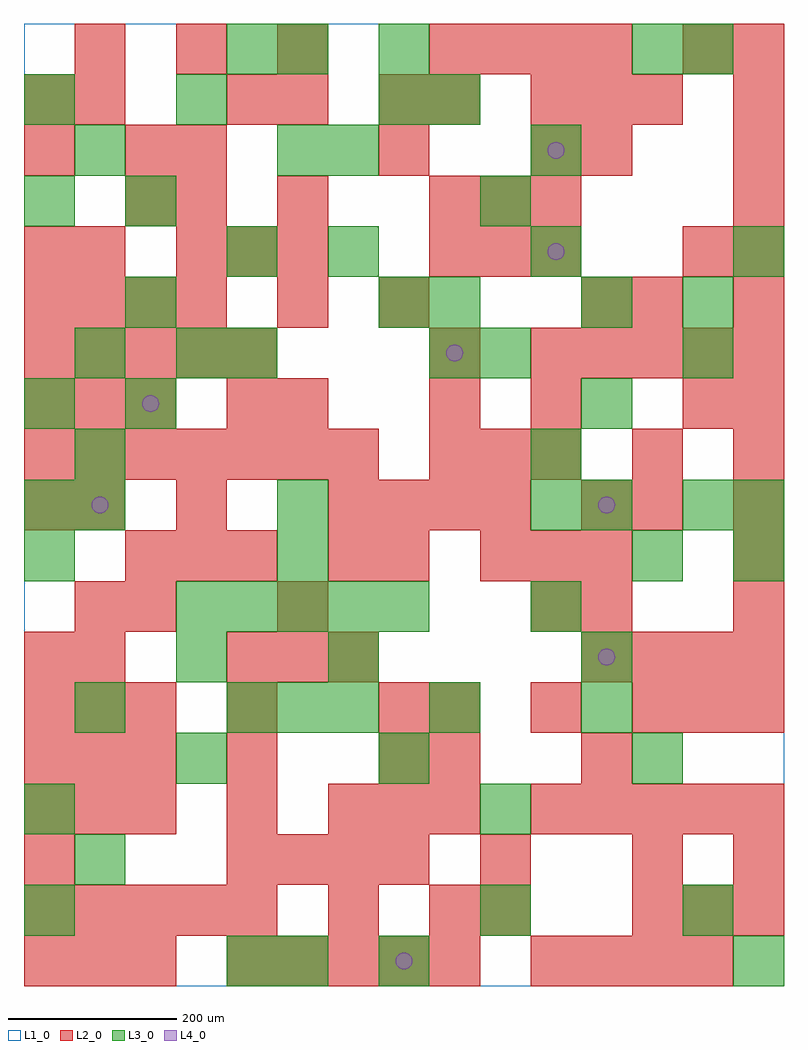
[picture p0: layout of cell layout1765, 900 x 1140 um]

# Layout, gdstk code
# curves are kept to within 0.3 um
import gdstk
lib = gdstk.Library(unit=1e-6, precision=1e-09)
def R(c, l, rs):  # rectangles x0, y0, x1, y1
    for r in rs: c.add(gdstk.rectangle(r[:2], r[2:], *l))
def A(c, l, x, y, w, h, nx, ny, dx, dy):  # array of equal rectangles
    R(c, l, [(x+i*dx, y+j*dy, x+i*dx+w, y+j*dy+h) for i in range(nx) for j in range(ny)])
def P(c, l, *ps):  # polygons
    for p in ps: c.add(gdstk.Polygon(p, *l))
L1_0 = (1, 0)
L2_0 = (2, 0)
L3_0 = (3, 0)
L4_0 = (4, 0)

layout1765 = lib.new_cell('layout1765')
R(layout1765, L1_0, [(0,0,900,1140)])
A(layout1765, L2_0, 0, 0, 60, 60, 3, 2, 60, 180)
A(layout1765, L2_0, 240, 0, 60, 60, 5, 1, 60, 0)
A(layout1765, L2_0, 600, 0, 60, 60, 4, 1, 60, 0)
A(layout1765, L2_0, 0, 60, 60, 60, 5, 2, 60, 660)
A(layout1765, L2_0, 720, 60, 60, 60, 3, 1, 60, 0)
A(layout1765, L2_0, 240, 120, 60, 60, 4, 1, 60, 0)
A(layout1765, L2_0, 240, 180, 60, 60, 1, 3, 0, 60)
A(layout1765, L2_0, 360, 180, 60, 60, 3, 1, 60, 0)
A(layout1765, L2_0, 600, 180, 60, 60, 5, 2, 60, 540)
A(layout1765, L2_0, 0, 240, 60, 60, 3, 2, 60, 60)
A(layout1765, L2_0, 480, 300, 60, 60, 3, 1, 120, 0)
A(layout1765, L2_0, 240, 360, 60, 60, 3, 1, 60, 0)
A(layout1765, L2_0, 660, 360, 60, 60, 4, 1, 60, 0)
A(layout1765, L2_0, 840, 420, 60, 60, 1, 5, 0, 60)
A(layout1765, L2_0, 120, 480, 60, 60, 3, 1, 60, 0)
A(layout1765, L2_0, 540, 480, 60, 60, 3, 1, 60, 0)
A(layout1765, L2_0, 360, 540, 60, 60, 4, 1, 60, 0)
A(layout1765, L2_0, 0, 600, 60, 60, 7, 1, 60, 0)
A(layout1765, L2_0, 480, 600, 60, 60, 3, 2, 60, 240)
A(layout1765, L2_0, 0, 660, 60, 60, 3, 1, 60, 0)
A(layout1765, L2_0, 300, 660, 60, 60, 1, 4, 0, 120)
A(layout1765, L2_0, 0, 780, 60, 60, 4, 1, 60, 0)
A(layout1765, L2_0, 840, 780, 60, 60, 1, 6, 0, 60)
A(layout1765, L2_0, 180, 840, 60, 60, 3, 1, 60, 0)
A(layout1765, L2_0, 480, 900, 60, 60, 3, 1, 60, 0)
A(layout1765, L2_0, 600, 1020, 60, 60, 3, 1, 60, 0)
A(layout1765, L2_0, 60, 1080, 60, 60, 3, 1, 120, 0)
A(layout1765, L2_0, 480, 1080, 60, 60, 4, 1, 60, 0)
R(layout1765, L2_0, [(360,60,420,120), (480,60,540,120), (540,60,600,120), (0,120,60,180), (540,120,600,180), (720,120,780,180), (840,120,900,180), (420,240,480,300), (480,240,540,300), (660,240,720,300), (420,300,480,360), (780,300,840,360), (840,300,900,360), (0,360,60,420), (60,360,120,420), (60,420,120,480), (120,420,180,480), (300,420,360,480), (600,420,660,480), (660,420,720,480), (360,480,420,540), (420,480,480,540), (0,540,60,600), (60,540,120,600), (180,540,240,600), (660,540,720,600), (720,540,780,600), (720,600,780,660), (240,660,300,720), (480,660,540,720), (600,660,660,720), (780,660,840,720), (480,720,540,780), (420,780,480,840), (660,780,720,840), (720,780,780,840), (0,840,60,900), (60,840,120,900), (780,840,840,900), (120,900,180,960), (180,900,240,960), (0,960,60,1020), (120,960,180,1020), (180,960,240,1020), (420,960,480,1020), (600,960,660,1020), (660,960,720,1020), (0,1020,60,1080), (60,1020,120,1080), (240,1020,300,1080), (420,1020,480,1080), (480,1020,540,1080), (780,1080,840,1140)])
A(layout1765, L3_0, 240, 300, 60, 60, 3, 1, 60, 0)
A(layout1765, L3_0, 180, 420, 60, 60, 5, 1, 60, 0)
A(layout1765, L3_0, 660, 540, 60, 60, 1, 3, 0, 120)
A(layout1765, L3_0, 120, 660, 60, 60, 1, 3, 0, 120)
A(layout1765, L3_0, 360, 840, 60, 60, 3, 1, 240, 0)
R(layout1765, L3_0, [(240,0,300,60), (300,0,360,60), (420,0,480,60), (840,0,900,60), (0,60,60,120), (540,60,600,120), (780,60,840,120), (60,120,120,180), (0,180,60,240), (540,180,600,240), (180,240,240,300), (420,240,480,300), (720,240,780,300), (60,300,120,360), (480,300,540,360), (660,300,720,360), (180,360,240,420), (360,360,420,420), (660,360,720,420), (600,420,660,480), (0,480,60,540), (300,480,360,540), (720,480,780,540), (840,480,900,540), (0,540,60,600), (60,540,120,600), (300,540,360,600), (600,540,660,600), (780,540,840,600), (840,540,900,600), (60,600,120,660), (600,600,660,660), (0,660,60,720), (60,720,120,780), (180,720,240,780), (240,720,300,780), (480,720,540,780), (540,720,600,780), (780,720,840,780), (420,780,480,840), (480,780,540,840), (780,780,840,840), (240,840,300,900), (0,900,60,960), (540,900,600,960), (60,960,120,1020), (300,960,360,1020), (360,960,420,1020), (600,960,660,1020), (0,1020,60,1080), (180,1020,240,1080), (420,1020,480,1080), (480,1020,540,1080), (240,1080,300,1140), (300,1080,360,1140), (420,1080,480,1140), (720,1080,780,1140), (780,1080,840,1140)])
P(layout1765, L4_0, [(100,570),(99.239,573.827),(97.071,577.071),(93.827,579.239),(90,580),(86.173,579.239),(82.929,577.071),(80.761,573.827),(80,570),(80.761,566.173),(82.929,562.929),(86.173,560.761),(90,560),(93.827,560.761),(97.071,562.929),(99.239,566.173)],
  [(160,690),(159.239,693.827),(157.071,697.071),(153.827,699.239),(150,700),(146.173,699.239),(142.929,697.071),(140.761,693.827),(140,690),(140.761,686.173),(142.929,682.929),(146.173,680.761),(150,680),(153.827,680.761),(157.071,682.929),(159.239,686.173)],
  [(460,30),(459.239,33.827),(457.071,37.071),(453.827,39.239),(450,40),(446.173,39.239),(442.929,37.071),(440.761,33.827),(440,30),(440.761,26.173),(442.929,22.929),(446.173,20.761),(450,20),(453.827,20.761),(457.071,22.929),(459.239,26.173)],
  [(520,750),(519.239,753.827),(517.071,757.071),(513.827,759.239),(510,760),(506.173,759.239),(502.929,757.071),(500.761,753.827),(500,750),(500.761,746.173),(502.929,742.929),(506.173,740.761),(510,740),(513.827,740.761),(517.071,742.929),(519.239,746.173)],
  [(640,870),(639.239,873.827),(637.071,877.071),(633.827,879.239),(630,880),(626.173,879.239),(622.929,877.071),(620.761,873.827),(620,870),(620.761,866.173),(622.929,862.929),(626.173,860.761),(630,860),(633.827,860.761),(637.071,862.929),(639.239,866.173)],
  [(640,990),(639.239,993.827),(637.071,997.071),(633.827,999.239),(630,1000),(626.173,999.239),(622.929,997.071),(620.761,993.827),(620,990),(620.761,986.173),(622.929,982.929),(626.173,980.761),(630,980),(633.827,980.761),(637.071,982.929),(639.239,986.173)],
  [(700,390),(699.239,393.827),(697.071,397.071),(693.827,399.239),(690,400),(686.173,399.239),(682.929,397.071),(680.761,393.827),(680,390),(680.761,386.173),(682.929,382.929),(686.173,380.761),(690,380),(693.827,380.761),(697.071,382.929),(699.239,386.173)],
  [(700,570),(699.239,573.827),(697.071,577.071),(693.827,579.239),(690,580),(686.173,579.239),(682.929,577.071),(680.761,573.827),(680,570),(680.761,566.173),(682.929,562.929),(686.173,560.761),(690,560),(693.827,560.761),(697.071,562.929),(699.239,566.173)])

lib.write_gds('layout1765.gds')
